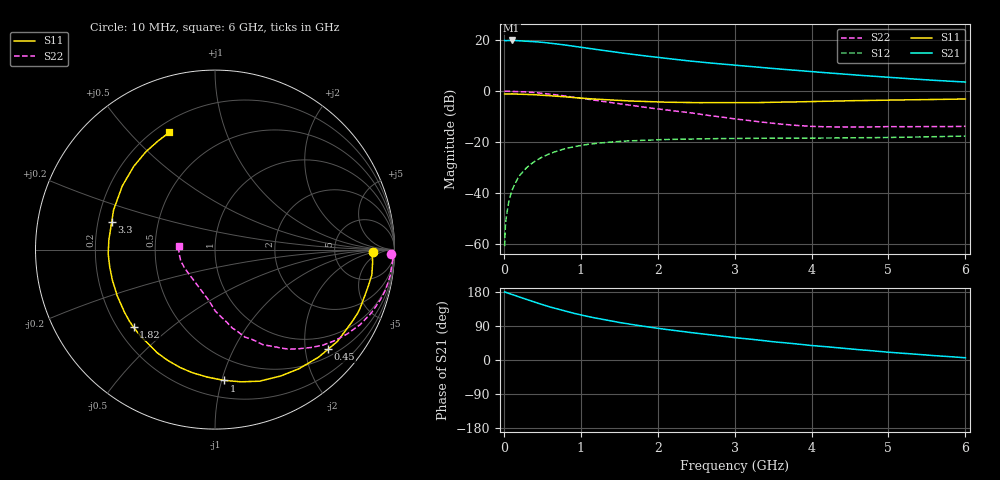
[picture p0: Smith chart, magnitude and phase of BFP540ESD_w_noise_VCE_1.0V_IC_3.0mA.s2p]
! Infineon Technologies  Discrete & RF Semiconductors
! BFP540ESD
! VCE =  1.0 V,  IC =  3.0 mA
! Common Emitter S-Parameters:  Nov 2015
# GHz  S  MA  R  50
!  f  S11  S21  S12  S22
! GHz  MAG  ANG  MAG  ANG  MAG  ANG  MAG  ANG
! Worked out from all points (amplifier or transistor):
!   210 points, 10 MHz to 6 GHz, reference 50 ohm
!   highest |S21| = 19.9 dB at 100 MHz (marker M1)
!   |S21| within 3 dB of that: start of sweep to 1.08 GHz
!   unconditionally stable (mu >= 1): 3.784 GHz to end of sweep
!   at 185 MHz: K = 0.01, MSG = 26.9 dB, |S12| = -34.1 dB
!   at 1.52 GHz: K = 0.36, MSG = 17.4 dB, |S12| = -19.8 dB
!   at 6 GHz: K = 1.31, MAG = 7.3 dB, |S12| = -17.7 dB
!   lowest NFmin = 0.63 dB at 900 MHz
!   S11 on the Smith chart (normalised r, x): 10 MHz: 15, -2; 450 MHz: 0.66, -2.49; 1 GHz: 0.33, -1.02; 1.82 GHz: 0.26, -0.38; 3.3 GHz: 0.26, +0.12; 6 GHz: 0.25, +0.65
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0.01  0.8797 -0.8  9.902 179.3  0.0009 83.7  0.9836 -1.3
0.02  0.8772 -2.2  9.798 179.0  0.0022 91.8  1 -1.3
0.03  0.8783 -3.0  9.824 178.2  0.0032 90.2  0.9976 -1.8
0.1  0.8852 -9.2  9.904 173.4  0.0104 86.5  0.988 -5.6
0.26  0.8701 -24.0  9.696 162.3  0.0273 78.4  0.9716 -14.6
0.45  0.8396 -41.4  9.245 149.5  0.0461 68.9  0.9234 -24.8
0.6  0.8122 -54.7  8.759 139.9  0.0594 62.8  0.8746 -32.4
0.7  0.7935 -62.6  8.423 134.6  0.067 58.0  0.8394 -37.1
0.8  0.7737 -71.4  8.05 128.8  0.0742 54.0  0.801 -41.8
1  0.7306 -86.1  7.292 119.1  0.0857 46.8  0.7261 -49.5
1.02  0.7257 -87.6  7.219 118.2  0.0866 46.1  0.7185 -50.3
1.2  0.6974 -100.4  6.595 110.4  0.094 40.6  0.6565 -56.5
1.44  0.6655 -115.4  5.891 101.4  0.1012 34.3  0.5825 -64.1
1.62  0.6428 -125.4  5.406 95.2  0.1053 30.4  0.5343 -68.5
1.82  0.627 -136.4  4.958 88.9  0.1084 26.6  0.4868 -73.4
2.02  0.6115 -146.3  4.58 82.9  0.1112 23.6  0.4451 -77.7
2.56  0.594 -169.2  3.72 69.3  0.1154 16.8  0.3498 -88.5
3.1  0.5925 171.5  3.136 57.1  0.1178 12.3  0.274 -99.3
3.3  0.5959 165.0  2.952 52.9  0.1186 10.9  0.2522 -104.7
4.1  0.6289 143.2  2.355 36.6  0.1198 6.4  0.2008 -133.4
5.1  0.67 123.6  1.829 19.1  0.1235 3.6  0.2003 -163.9
6  0.7011 111.3  1.509 5.9  0.1309 2.3  0.2035 174.1
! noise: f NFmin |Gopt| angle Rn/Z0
0.9  0.63  0.27  45  0.15
1.8  0.89  0.21  92  0.13
2.4  0.92  0.26  109  0.1
3  1.12  0.29  144  0.09
4  1.37  0.29  -141  0.15
5  1.69  0.42  -108  0.35
6  1.9  0.55  -106  0.52
